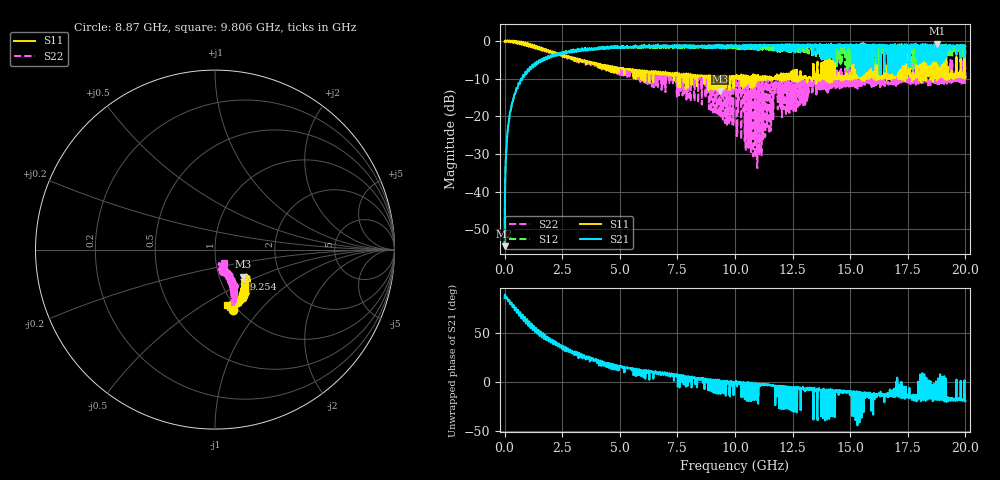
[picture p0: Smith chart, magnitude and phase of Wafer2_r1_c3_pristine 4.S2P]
!  2-Port S-parameters saved by WinCal
! VAR MeasName=S-Parameters (CALIBRATED_DATA) read from VNA (P5004A)
! VAR MeasDate=24/04/2024 15:24:18
! VAR NAME=Wafer2_r1_c3_pristine 4
! VAR FILENAME=Wafer2_r1_c3_pristine 4.S2P
! VAR DATE=24/04/2024 15:24:18
! VAR PHYS_PORTS=1,2
! VAR ObjTypeName=DATASET
! VAR IndexType=Frequency
# Hz S MA R 50
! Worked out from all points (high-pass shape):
!   4999 points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, 4.01 MHz to 20 GHz, reference 50 ohm
!   highest |S21| = -0.67 dB at 18.76 GHz (marker M1); lowest = -54.5 dB at 4.01 MHz (marker M2)
!   |S21| within 3 dB of the highest: 2.341 GHz to 13.41 GHz (11.07 GHz wide, 141 % of centre); 14.35 GHz to 15.07 GHz (724.3 MHz wide, 4.92 % of centre)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
!   lowest |S11| = -13.3 dB at 9.35 GHz (marker M3), VSWR 1.56, Z = 64.9 - j20.5 ohm
!   |S11| at or under -10 dB: 11.61459 GHz to 11.66371 GHz (49.13 MHz wide, 0.422 % of centre); 13.10708 GHz to 13.15165 GHz (44.58 MHz wide, 0.34 % of centre); 14.1889 GHz to 14.23343 GHz (44.53 MHz wide, 0.313 % of centre)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
!   |S22| runs from -33.8 to 0.1 dB; largest |S21 - S12| = 0.61
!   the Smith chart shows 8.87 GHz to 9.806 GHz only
!   S11 on the Smith chart (normalised r, x): 8.87 GHz: 0.95, -0.73; 9.254 GHz: 1.30, -0.45; 9.806 GHz: 0.93, -0.64
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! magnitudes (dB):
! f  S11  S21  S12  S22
! 4.01 MHz  -0.1  -54.5  -54.4  -0.1
! 108 MHz  -0.1  -26.1  -26.0  -0.1
! 180 MHz  -0.2  -21.9  -21.8  -0.2
! 624.1 MHz  -0.2  -11.1  -11.1  -0.2
! 1.54 GHz  -2.4  -5.6  -5.7  -2.3
! 3.341 GHz  -5.2  -2.5  -2.3  -5.8
! 6.673 GHz  -8.1  -1.2  -1.5  -10.6
! 8.87 GHz  -9.1  -1.3  -1.3  -17.7
! 9.254 GHz  -12.8  -1.2  -1.3  -9.7
! 9.35 GHz  -13.3  -1.1  -1.0  -9.3
! 9.806 GHz  -10.0  -1.3  -1.6  -20.9
! 10 GHz  -9.7  -1.4  -1.6  -10.6
! 10.27 GHz  -9.3  -2.0  -1.4  -26.2
! 11.05 GHz  -10.2  -1.2  -1.5  -30.2
! 11.33 GHz  -10.4  -1.2  -2.2  -20.5
! 11.56 GHz  -9.9  -1.2  -1.9  -23.0
! 11.68 GHz  -9.8  -1.0  -1.8  -11.8
! 13.33 GHz  -10.1  -1.1  -1.6  -11.1
! 15.44 GHz  -9.5  -1.3  -9.2  -5.4
! 16.67 GHz  -5.4  -4.4  -2.1  -11.5
! 18.76 GHz  -10.2  -0.7  -5.7  -5.3
! 20 GHz  -9.6  -1.3  -3.9  -7.0
